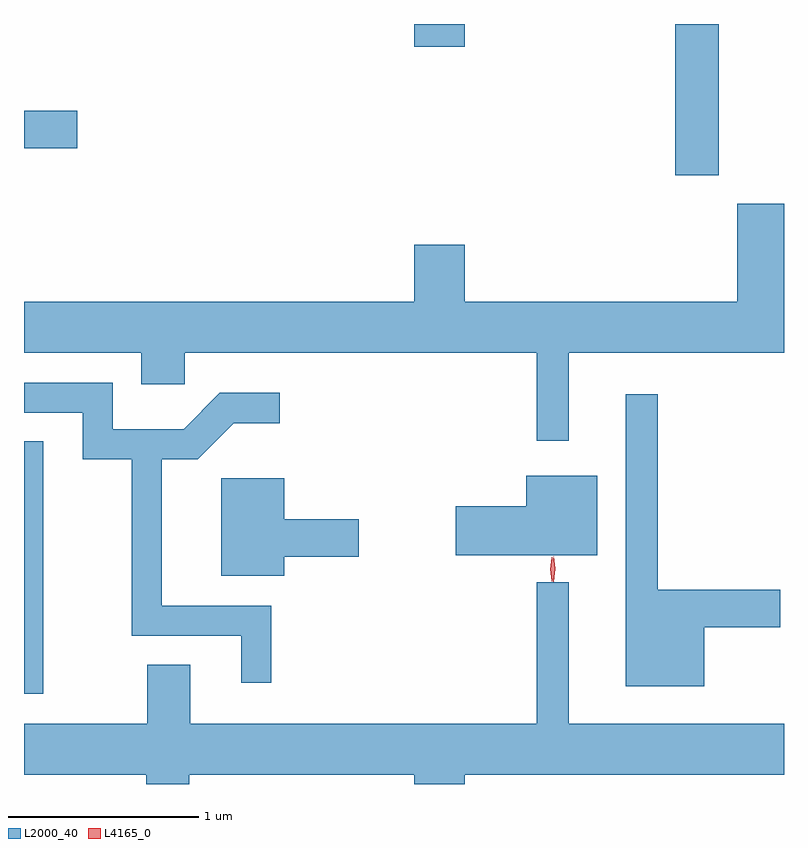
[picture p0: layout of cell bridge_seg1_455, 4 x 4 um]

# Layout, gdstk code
import gdstk
lib = gdstk.Library(unit=1e-6, precision=1e-09)
def R(c, l, rs):  # rectangles x0, y0, x1, y1
    for r in rs: c.add(gdstk.rectangle(r[:2], r[2:], *l))
def P(c, l, *ps):  # polygons
    for p in ps: c.add(gdstk.Polygon(p, *l))
L2000_40 = (2000, 40)
L4165_0 = (4165, 0)

bridge_seg1_455 = lib.new_cell('bridge_seg1_455')
R(bridge_seg1_455, L2000_40, [(213.023,897.781,213.124,899.109), (216.451,900.511,216.679,901.306), (213.023,900.651,213.304,900.849), (215.076,901.186,215.344,901.306)])
P(bridge_seg1_455, L2000_40, [(215.889,899.576),(217.023,899.576),(217.023,900.359),(216.776,900.359),(216.776,899.844),(215.344,899.844),(215.344,900.144),(215.076,900.144),(215.076,899.844),(213.023,899.844),(213.023,899.576),(213.641,899.576),(213.641,899.411),(213.869,899.411),(213.869,899.576),(215.721,899.576),(215.721,899.113),(215.889,899.113)],
  [(214.324,898.244),(213.749,898.244),(213.749,899.016),(213.937,899.016),(214.127,899.206),(214.368,899.206),(214.368,899.364),(214.054,899.364),(213.864,899.174),(213.489,899.174),(213.489,899.419),(213.023,899.419),(213.023,899.261),(213.331,899.261),(213.331,899.016),(213.591,899.016),(213.591,898.086),(214.166,898.086),(214.166,897.838),(214.324,897.838)],
  [(216.604,898.131),(217.004,898.131),(217.004,898.329),(216.359,898.329),(216.359,899.358),(216.191,899.358),(216.191,897.821),(216.604,897.821)],
  [(216.039,898.929),(215.666,898.929),(215.666,898.769),(215.296,898.769),(215.296,898.511),(216.039,898.511)],
  [(214.394,898.501),(214.784,898.501),(214.784,898.699),(214.394,898.699),(214.394,898.914),(214.061,898.914),(214.061,898.401),(214.394,898.401)],
  [(213.894,897.356),(215.076,897.356),(215.076,897.306),(215.344,897.306),(215.344,897.356),(217.023,897.356),(217.023,897.624),(215.889,897.624),(215.889,898.368),(215.721,898.368),(215.721,897.624),(213.899,897.624),(213.899,897.934),(213.671,897.934),(213.671,897.624),(213.023,897.624),(213.023,897.356),(213.666,897.356),(213.666,897.306),(213.894,897.306)])
P(bridge_seg1_455, L4165_0, [(215.801,898.373),(215.792,898.436),(215.801,898.499),(215.802,898.5),(215.802,898.499),(215.812,898.436),(215.802,898.373),(215.802,898.373)],
  [(215.809,898.37),(215.809,898.37),(215.8,898.438),(215.81,898.505),(215.811,898.506),(215.811,898.505),(215.82,898.438),(215.81,898.37)])

lib.write_gds('bridge_seg1_455.gds')
